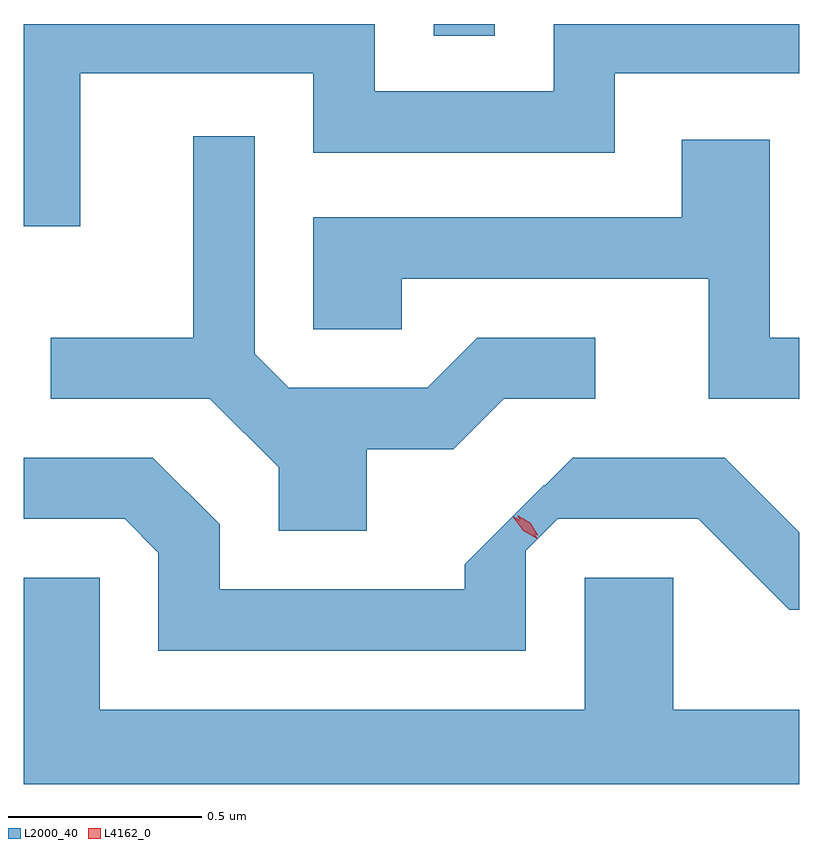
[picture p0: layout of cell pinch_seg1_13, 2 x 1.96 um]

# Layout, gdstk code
import gdstk
lib = gdstk.Library(unit=1e-6, precision=1e-09)
def R(c, l, rs):  # rectangles x0, y0, x1, y1
    for r in rs: c.add(gdstk.rectangle(r[:2], r[2:], *l))
def P(c, l, *ps):  # polygons
    for p in ps: c.add(gdstk.Polygon(p, *l))
L2000_40 = (2000, 40)
L4162_0 = (4162, 0)

pinch_seg1_13 = lib.new_cell('pinch_seg1_13')
R(pinch_seg1_13, L2000_40, [(1894.531,841.643,1894.689,841.673)])
P(pinch_seg1_13, L2000_40, [(1893.619,841.546),(1894.221,841.546),(1894.221,841.341),(1894.999,841.341),(1894.999,841.546),(1895.474,841.546),(1895.474,841.673),(1894.841,841.673),(1894.841,841.499),(1894.379,841.499),(1894.379,841.673),(1893.474,841.673),(1893.474,841.151),(1893.619,841.151)],
  [(1894.359,840.576),(1894.582,840.576),(1894.712,840.706),(1894.948,840.706),(1894.948,840.864),(1894.644,840.864),(1894.514,840.734),(1894.157,840.734),(1894.069,840.822),(1894.069,841.383),(1893.911,841.383),(1893.911,840.864),(1893.543,840.864),(1893.543,840.706),(1893.954,840.706),(1894.131,840.529),(1894.131,840.366),(1894.359,840.366)],
  [(1895.474,840.864),(1895.399,840.864),(1895.399,841.374),(1895.171,841.374),(1895.171,841.174),(1894.221,841.174),(1894.221,840.886),(1894.449,840.886),(1894.449,841.016),(1895.241,841.016),(1895.241,840.706),(1895.474,840.706)],
  [(1894.769,840.314),(1894.852,840.397),(1894.955,840.397),(1894.955,840.396),(1895.214,840.396),(1895.449,840.161),(1895.474,840.161),(1895.474,840.362),(1895.282,840.554),(1894.89,840.554),(1894.818,840.482),(1894.816,840.484),(1894.611,840.279),(1894.611,840.214),(1893.979,840.214),(1893.979,840.382),(1893.807,840.554),(1893.474,840.554),(1893.474,840.396),(1893.734,840.396),(1893.821,840.309),(1893.821,840.056),(1894.769,840.056)],
  [(1895.474,839.904),(1895.149,839.904),(1895.149,840.244),(1894.921,840.244),(1894.921,839.904),(1893.669,839.904),(1893.669,840.244),(1893.474,840.244),(1893.474,839.712),(1895.474,839.712)])
P(pinch_seg1_13, L4162_0, [(1894.799,840.354),(1894.767,840.372),(1894.748,840.403),(1894.748,840.404),(1894.749,840.404),(1894.781,840.386),(1894.8,840.355),(1894.8,840.354)],
  [(1894.799,840.345),(1894.762,840.365),(1894.737,840.4),(1894.737,840.401),(1894.738,840.401),(1894.775,840.38),(1894.8,840.345),(1894.8,840.345)])

lib.write_gds('pinch_seg1_13.gds')
